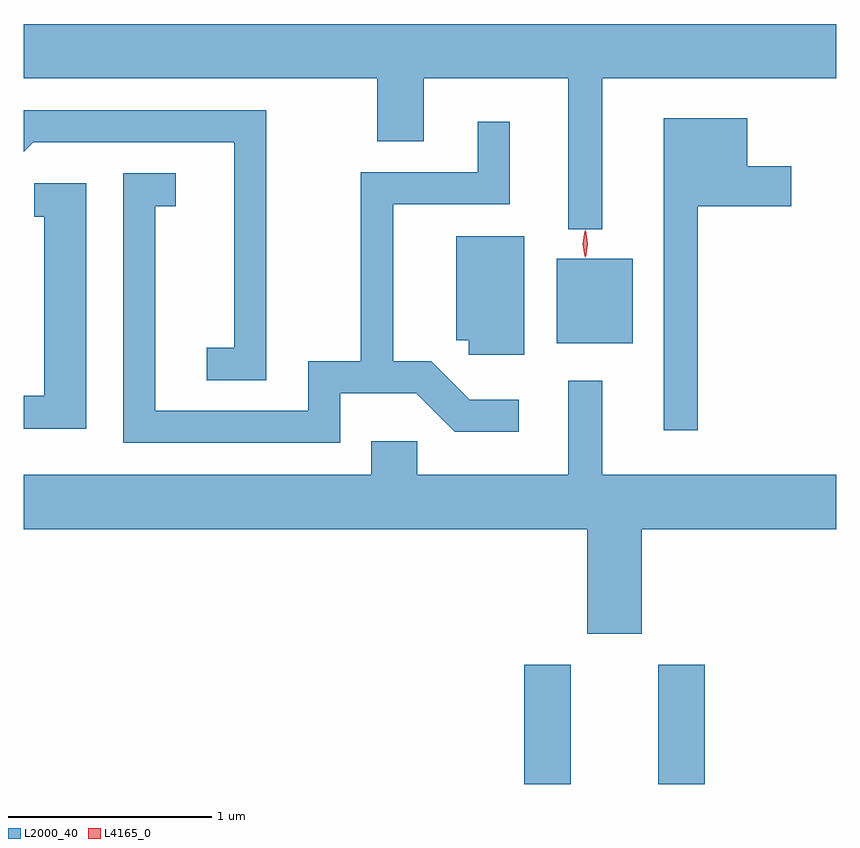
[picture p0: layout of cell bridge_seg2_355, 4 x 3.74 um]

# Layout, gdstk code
import gdstk
lib = gdstk.Library(unit=1e-6, precision=1e-09)
def R(c, l, rs):  # rectangles x0, y0, x1, y1
    for r in rs: c.add(gdstk.rectangle(r[:2], r[2:], *l))
def P(c, l, *ps):  # polygons
    for p in ps: c.add(gdstk.Polygon(p, *l))
L2000_40 = (2000, 40)
L4165_0 = (4165, 0)

bridge_seg2_355 = lib.new_cell('bridge_seg2_355')
R(bridge_seg2_355, L2000_40, [(433.066,1009.322,433.294,1009.909), (433.726,1009.322,433.954,1009.909), (433.226,1011.491,433.599,1011.909)])
P(bridge_seg2_355, L2000_40, [(433.449,1012.796),(434.601,1012.796),(434.601,1013.064),(430.601,1013.064),(430.601,1012.796),(432.341,1012.796),(432.341,1012.486),(432.569,1012.486),(432.569,1012.796),(433.281,1012.796),(433.281,1012.053),(433.449,1012.053)],
  [(431.794,1012.639),(430.601,1012.639),(430.601,1012.435),(430.647,1012.481),(431.636,1012.481),(431.636,1011.469),(431.503,1011.469),(431.503,1011.311),(431.794,1011.311)],
  [(433.919,1012.166),(434.379,1012.166),(434.379,1012.364),(434.164,1012.364),(434.164,1012.599),(433.751,1012.599),(433.751,1011.063),(433.919,1011.063)],
  [(432.159,1011.246),(432.534,1011.246),(432.724,1011.056),(433.038,1011.056),(433.038,1011.214),(432.797,1011.214),(432.607,1011.404),(432.419,1011.404),(432.419,1012.176),(432.994,1012.176),(432.994,1012.583),(432.836,1012.583),(432.836,1012.334),(432.261,1012.334),(432.261,1011.404),(432.001,1011.404),(432.001,1011.159),(431.249,1011.159),(431.249,1012.166),(431.348,1012.166),(431.348,1012.329),(431.091,1012.329),(431.091,1011.001),(432.159,1011.001)],
  [(430.909,1012.279),(430.653,1012.279),(430.653,1012.116),(430.701,1012.116),(430.701,1011.234),(430.601,1011.234),(430.601,1011.071),(430.909,1011.071)],
  [(433.064,1012.019),(432.731,1012.019),(432.731,1011.506),(432.791,1011.506),(432.791,1011.436),(433.064,1011.436)],
  [(433.644,1010.576),(434.601,1010.576),(434.601,1010.844),(433.449,1010.844),(433.449,1011.308),(433.281,1011.308),(433.281,1010.844),(432.539,1010.844),(432.539,1011.009),(432.311,1011.009),(432.311,1010.844),(430.601,1010.844),(430.601,1010.576),(433.376,1010.576),(433.376,1010.061),(433.644,1010.061)])
P(bridge_seg2_355, L4165_0, [(433.368,1011.914),(433.358,1011.982),(433.367,1012.05),(433.368,1012.05),(433.368,1012.05),(433.378,1011.982),(433.369,1011.914),(433.369,1011.914)],
  [(433.362,1011.918),(433.353,1011.982),(433.362,1012.047),(433.363,1012.047),(433.363,1012.047),(433.373,1011.982),(433.363,1011.918),(433.363,1011.918)])

lib.write_gds('bridge_seg2_355.gds')
